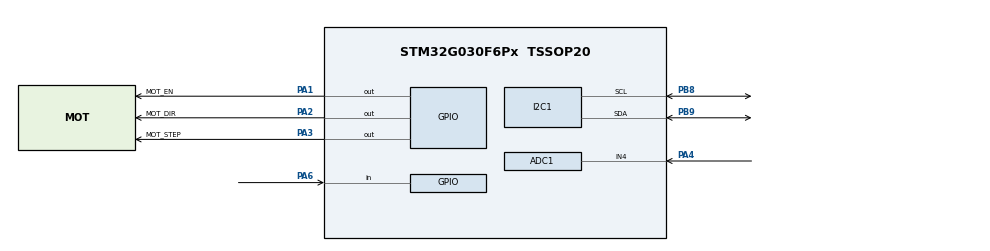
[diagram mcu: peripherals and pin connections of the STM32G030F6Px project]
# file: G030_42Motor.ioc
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ADC1.Channel-0\#ChannelRegularConversion=ADC_CHANNEL_4
ADC1.ClockPrescaler=ADC_CLOCK_ASYNC_DIV32
ADC1.DiscontinuousConvMode=ENABLE
ADC1.NbrOfConversion=1
ADC1.NbrOfConversionFlag=1
ADC1.Rank-0\#ChannelRegularConversion=1
ADC1.SamplingTime-0\#ChannelRegularConversion=ADC_SAMPLINGTIME_COMMON_1
ADC1.SamplingTimeCommon1=ADC_SAMPLETIME_160CYCLES_5
ADC1.SamplingTimeCommon2=ADC_SAMPLETIME_160CYCLES_5
ADC1.SelectedChannel=ADC_CHANNEL_4
ADC1.master=1
I2C1.Timing=0x10707DBC
Mcu.Family=STM32G0
Mcu.Name=STM32G030F6Px
Mcu.Package=TSSOP20
NVIC.TIM14_IRQn=true\:0\:0\:false\:false\:true\:true\:true\:true
PA1.GPIO_Label=MOT_EN
PA1.GPIO_PuPd=GPIO_NOPULL
PA1.PinState=GPIO_PIN_RESET
PA1.Signal=GPIO_Output
PA13.Mode=Serial_Wire
PA13.Signal=SYS_SWDIO
PA14-BOOT0.Mode=Serial_Wire
PA14-BOOT0.Signal=SYS_SWCLK
PA14-BOOT0__PA15.StandardMode=true
PA2.GPIO_Label=MOT_DIR
PA2.Signal=GPIO_Output
PA3.GPIO_Label=MOT_STEP
PA3.Signal=GPIO_Output
PA4.Signal=SharedAnalog_PA4
PA6.Signal=GPIO_Input
PB0__PB1__PB2__PA8.StandardMode=true
PB3__PB4__PB5__PB6.StandardMode=true
PB7__PB8.StandardMode=true
PB8.GPIO_Speed=GPIO_SPEED_FREQ_HIGH
PB8.Mode=I2C
PB8.Signal=I2C1_SCL
PB9.GPIO_Speed=GPIO_SPEED_FREQ_HIGH
PB9.Mode=I2C
PB9.Signal=I2C1_SDA
PC14-OSC32_IN\ (PC14)__PB9.StandardMode=true
ProjectManager.HeapSize=0x200
ProjectManager.StackSize=0x400
ProjectManager.TargetToolchain=MDK-ARM V5.32
RCC.ADCFreq_Value=64000000
RCC.AHBFreq_Value=64000000
RCC.CortexFreq_Value=64000000
RCC.EXTERNAL_CLOCK_VALUE=12288000
RCC.HCLKFreq_Value=64000000
RCC.HSE_VALUE=8000000
RCC.HSI_VALUE=16000000
RCC.LSE_VALUE=32768
RCC.SYSCLKFreq_VALUE=64000000
RCC.SYSCLKSource=RCC_SYSCLKSOURCE_PLLCLK
RCC.VCOOutputFreq_Value=128000000
SH.SharedAnalog_PA4.0=GPIO_Analog
SH.SharedAnalog_PA4.1=ADC1_IN4,IN4
TIM14.Period=1000
TIM14.Prescaler=63
VP_TIM14_VS_ClockSourceINT.Mode=Enable_Timer
board=custom

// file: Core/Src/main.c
/* USER CODE BEGIN Header */
/**
  ******************************************************************************
  * @file           : main.c
  * @brief          : Main program body
  ******************************************************************************
  * @attention
  *
  * Copyright (c) 2024 STMicroelectronics.
  * All rights reserved.
  *
  * This software is licensed under terms that can be found in the LICENSE file
  * in the root directory of this software component.
  * If no LICENSE file comes with this software, it is provided AS-IS.
  *
  ******************************************************************************
  */
/* USER CODE END Header */
#include "main.h"
#include "adc.h"
#include "i2c.h"
#include "tim.h"
#include "gpio.h"

/* USER CODE BEGIN Includes */
#include "EventRecorder.h"
#include "stdio.h"
#include "u8g2.h"
#include "oled_driver.h"
/* USER CODE END Includes */

/* USER CODE BEGIN PV */
char sprintf_tmp[16];
static u8g2_t u8g2;
uint16_t output = 0;
uint16_t step = 0;
uint8_t rpm = 0;
/* USER CODE END PV */

void SystemClock_Config(void);
/* USER CODE BEGIN PFP */
void stepper_rotate(uint8_t dir, uint8_t step);
/* USER CODE END PFP */

int main(void)
{
  /* USER CODE BEGIN 1 */
	EventRecorderInitialize(EventRecordAll, 1U);
	EventRecorderStart();
  /* USER CODE END 1 */

  /* MCU Configuration--------------------------------------------------------*/

  /* Reset of all peripherals, Initializes the Flash interface and the Systick. */
  HAL_Init();

  /* Configure the system clock */
  SystemClock_Config();

  /* USER CODE BEGIN SysInit */
	printf("CPU @ %d Hz\n", SystemCoreClock);
  /* USER CODE END SysInit */

  /* Initialize all configured peripherals */
  MX_GPIO_Init();
  MX_ADC1_Init();
  MX_I2C1_Init();
  MX_TIM14_Init();
  /* USER CODE BEGIN 2 */
	HAL_ADCEx_Calibration_Start(&hadc1);
	u8g2_Setup_ssd1306_i2c_128x64_noname_f(&u8g2, U8G2_R0, u8x8_byte_hw_i2c, u8x8_gpio_and_delay_hw);
	u8g2_InitDisplay(&u8g2);
	u8g2_SetPowerSave(&u8g2, 0);

	LL_TIM_EnableCounter(TIM14);
	LL_TIM_EnableAllOutputs(TIM14);
	LL_TIM_CC_EnableChannel(TIM14, LL_TIM_CHANNEL_CH1);
	LL_TIM_EnableIT_UPDATE(TIM14);
	LL_GPIO_ResetOutputPin(MOT_EN_GPIO_Port, MOT_EN_Pin);
	LL_GPIO_SetOutputPin(MOT_DIR_GPIO_Port, MOT_DIR_Pin);
  /* USER CODE END 2 */

  /* Infinite loop */
  /* USER CODE BEGIN WHILE */
  while (1)
  {
		HAL_ADC_Start(&hadc1);
		HAL_ADC_PollForConversion(&hadc1, 10);
		uint16_t ADC_Value = HAL_ADC_GetValue(&hadc1);
		if(ADC_Value>20)
		{
			LL_GPIO_ResetOutputPin(MOT_EN_GPIO_Port, MOT_EN_Pin);
			output = (ADC_Value - 10) * (100 - 500) / (4000 - 10) + 500;
			LL_TIM_SetAutoReload(TIM14, output);
			LL_TIM_CC_EnableChannel(TIM14, LL_TIM_CHANNEL_CH1);
			step = 1000000/output;
			rpm = step * 0.01875;
		}
		else
		{
			LL_GPIO_SetOutputPin(MOT_EN_GPIO_Port, MOT_EN_Pin);
			output = 0;
			step = 0;
			rpm = 0;
		}
		printf("adc=%d, out=%d, step=%d, rpm=%d\n", ADC_Value, output, step, rpm);

		u8g2_FirstPage(&u8g2);
		do
		{
			u8g2_SetFontMode(&u8g2, 1);
			u8g2_SetFontDirection(&u8g2, 0);
			u8g2_SetFont(&u8g2, u8g2_font_7Segments_26x42_mn);
			sprintf(sprintf_tmp, "%d", rpm);
			u8g2_DrawStr(&u8g2, 0, 45, sprintf_tmp);
		} while (u8g2_NextPage(&u8g2));
		//LL_mDelay(50);
    /* USER CODE END WHILE */

  }
}

void SystemClock_Config(void)
{
  LL_FLASH_SetLatency(LL_FLASH_LATENCY_2);
  while(LL_FLASH_GetLatency() != LL_FLASH_LATENCY_2)
  {
  }

  /* HSI configuration and activation */
  LL_RCC_HSI_Enable();
  while(LL_RCC_HSI_IsReady() != 1)
  {
  }

  /* Main PLL configuration and activation */
  LL_RCC_PLL_ConfigDomain_SYS(LL_RCC_PLLSOURCE_HSI, LL_RCC_PLLM_DIV_1, 8, LL_RCC_PLLR_DIV_2);
  LL_RCC_PLL_Enable();
  LL_RCC_PLL_EnableDomain_SYS();
  while(LL_RCC_PLL_IsReady() != 1)
  {
  }

  /* Set AHB prescaler*/
  LL_RCC_SetAHBPrescaler(LL_RCC_SYSCLK_DIV_1);

  /* Sysclk activation on the main PLL */
  LL_RCC_SetSysClkSource(LL_RCC_SYS_CLKSOURCE_PLL);
  while(LL_RCC_GetSysClkSource() != LL_RCC_SYS_CLKSOURCE_STATUS_PLL)
  {
  }

  /* Set APB1 prescaler*/
  LL_RCC_SetAPB1Prescaler(LL_RCC_APB1_DIV_1);
  /* Update CMSIS variable (which can be updated also through SystemCoreClockUpdate function) */
  LL_SetSystemCoreClock(64000000);

   /* Update the time base */
  if (HAL_InitTick (TICK_INT_PRIORITY) != HAL_OK)
  {
    Error_Handler();
  }
}

void Error_Handler(void)
{
  __disable_irq();
  while (1)
  {
  }
}
